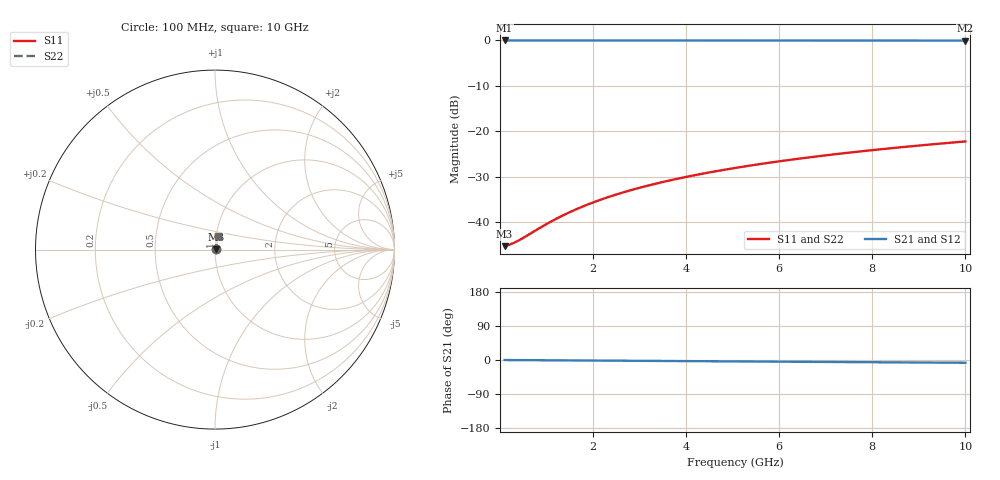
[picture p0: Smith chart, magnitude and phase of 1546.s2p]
# Hz S RI R 50.00
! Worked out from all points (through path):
!   100 points, 100 MHz to 10 GHz, reference 50 ohm
!   highest |S21| = -0.05 dB at 100 MHz (marker M1); lowest = -0.1 dB at 10 GHz (marker M2)
!   group delay of S21, straight-line fit = 2.03 ps
!   lowest |S11| = -45.3 dB at 100 MHz (marker M3), VSWR 1.01, Z = 50.5 + j0.0771 ohm
!   |S11| at or under -10 dB: start of sweep to end of sweep
!   |S22| runs from -45.3 to -22.3 dB; largest |S21 - S12| = 0
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1e8  0.00536 0.000763  0.9946 -0.00127  0.9946 -0.00127  0.00536 0.000763
2e8  0.0054 0.00153  0.9946 -0.00254  0.9946 -0.00254  0.0054 0.00153
3e8  0.00543 0.00229  0.9946 -0.00381  0.9946 -0.00381  0.00543 0.00229
4e8  0.00545 0.00305  0.9945 -0.00509  0.9945 -0.00509  0.00545 0.00305
9e8  0.00559 0.00687  0.9944 -0.0114  0.9944 -0.0114  0.00559 0.00687
1.2e9  0.00568 0.00915  0.9943 -0.0153  0.9943 -0.0153  0.00568 0.00915
1.5e9  0.00579 0.0114  0.9942 -0.0191  0.9942 -0.0191  0.00579 0.0114
1.8e9  0.00591 0.0137  0.994 -0.0229  0.994 -0.0229  0.00591 0.0137
2.1e9  0.00604 0.016  0.9939 -0.0267  0.9939 -0.0267  0.00604 0.016
2.5e9  0.00625 0.0191  0.9937 -0.0318  0.9937 -0.0318  0.00625 0.0191
2.9e9  0.00648 0.0221  0.9934 -0.0368  0.9934 -0.0368  0.00648 0.0221
3.4e9  0.00681 0.0259  0.993 -0.0432  0.993 -0.0432  0.00681 0.0259
3.8e9  0.00711 0.0289  0.9927 -0.0483  0.9927 -0.0483  0.00711 0.0289
4.2e9  0.00744 0.032  0.9923 -0.0533  0.9923 -0.0533  0.00744 0.032
4.6e9  0.0078 0.035  0.9919 -0.0584  0.9919 -0.0584  0.0078 0.035
5.1e9  0.00829 0.0388  0.9913 -0.0647  0.9913 -0.0647  0.00829 0.0388
5.9e9  0.00918 0.0448  0.9903 -0.0748  0.9903 -0.0748  0.00918 0.0448
6.7e9  0.0102 0.0508  0.9892 -0.0849  0.9892 -0.0849  0.0102 0.0508
7.5e9  0.0113 0.0568  0.9879 -0.095  0.9879 -0.095  0.0113 0.0568
8.4e9  0.0127 0.0635  0.9863 -0.1063  0.9863 -0.1063  0.0127 0.0635
9.2e9  0.0141 0.0694  0.9847 -0.1163  0.9847 -0.1163  0.0141 0.0694
1e10  0.0156 0.0753  0.983 -0.1263  0.983 -0.1263  0.0156 0.0753
